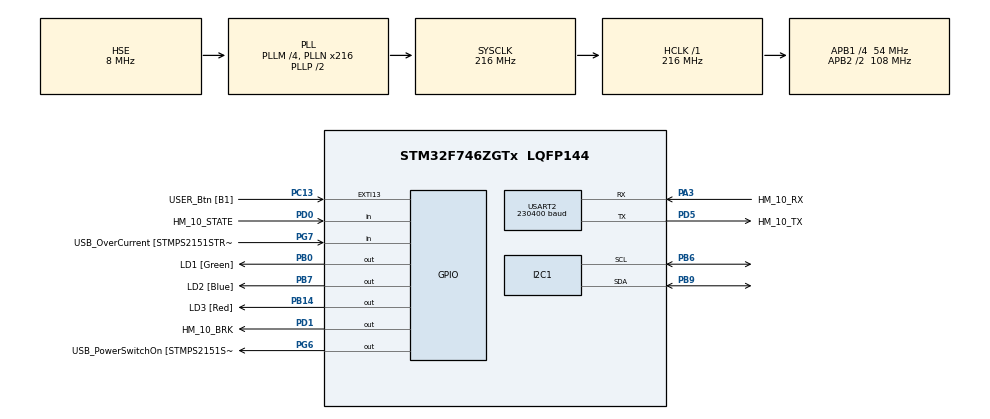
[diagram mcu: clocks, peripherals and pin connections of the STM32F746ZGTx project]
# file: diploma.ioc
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FREERTOS.Tasks01=defaultTask,24,128,StartDefaultTask,Default,NULL,Dynamic,NULL,NULL
FREERTOS.configENABLE_FPU=1
FREERTOS.configUSE_NEWLIB_REENTRANT=1
I2C1.Timing=0x20404768
Mcu.Family=STM32F7
Mcu.Name=STM32F746ZGTx
Mcu.Package=LQFP144
NVIC.PriorityGroup=NVIC_PRIORITYGROUP_4
NVIC.TIM8_UP_TIM13_IRQn=true\:15\:0\:false\:false\:true\:false\:false\:true\:true
NVIC.TimeBase=TIM8_UP_TIM13_IRQn
NVIC.TimeBaseIP=TIM13
NVIC.USART2_IRQn=true\:5\:0\:false\:false\:true\:true\:true\:true\:true
PA1.GPIO_Label=RMII_REF_CLK [LAN8742A-CZ-TR_REFCLK0]
PA1.Signal=ETH_REF_CLK
PA10.GPIO_Label=USB_ID
PA10.Signal=USB_OTG_FS_ID
PA11.GPIO_Label=USB_DM
PA11.Signal=USB_OTG_FS_DM
PA12.GPIO_Label=USB_DP
PA12.Signal=USB_OTG_FS_DP
PA13.GPIO_Label=TMS
PA13.Signal=SYS_JTMS-SWDIO
PA14.GPIO_Label=TCK
PA14.Signal=SYS_JTCK-SWCLK
PA2.GPIO_Label=RMII_MDIO [LAN8742A-CZ-TR_MDIO]
PA2.Signal=ETH_MDIO
PA3.GPIO_Label=HM_10_RX
PA3.Mode=Asynchronous
PA3.Signal=USART2_RX
PA7.GPIO_Label=RMII_CRS_DV [LAN8742A-CZ-TR_CRS_DV]
PA7.Signal=ETH_CRS_DV
PA8.Signal=I2C3_SCL
PB0.GPIO_Label=LD1 [Green]
PB0.Signal=GPIO_Output
PB13.GPIO_Label=RMII_TXD1 [LAN8742A-CZ-TR_TXD1]
PB13.Signal=ETH_TXD1
PB14.GPIO_Label=LD3 [Red]
PB14.Signal=GPIO_Output
PB3.GPIO_Label=SW0
PB3.Signal=SYS_JTDO-SWO
PB6.Mode=I2C
PB6.Signal=I2C1_SCL
PB7.GPIO_Label=LD2 [Blue]
PB7.Signal=GPIO_Output
PB9.Mode=I2C
PB9.Signal=I2C1_SDA
PC1.GPIO_Label=RMII_MDC [LAN8742A-CZ-TR_MDC]
PC1.Signal=ETH_MDC
PC13.GPIO_Label=USER_Btn [B1]
PC13.Signal=GPXTI13
PC14/OSC32_IN.Mode=LSE-External-Oscillator
PC14/OSC32_IN.Signal=RCC_OSC32_IN
PC15/OSC32_OUT.Mode=LSE-External-Oscillator
PC15/OSC32_OUT.Signal=RCC_OSC32_OUT
PC4.GPIO_Label=RMII_RXD0 [LAN8742A-CZ-TR_RXD0]
PC4.Signal=ETH_RXD0
PC5.GPIO_Label=RMII_RXD1 [LAN8742A-CZ-TR_RXD1]
PC5.Signal=ETH_RXD1
PD0.GPIO_Label=HM_10_STATE
PD0.Signal=GPIO_Input
PD1.GPIO_Label=HM_10_BRK
PD1.Signal=GPIO_Output
PD5.GPIO_Label=HM_10_TX
PD5.Mode=Asynchronous
PD5.Signal=USART2_TX
PD8.GPIO_Label=STLK_RX [STM32F103CBT6_PA3]
PD8.GPIO_PuPd=GPIO_PULLUP
PD8.Signal=USART3_TX
PD9.GPIO_Label=STLK_TX [STM32F103CBT6_PA2]
PD9.GPIO_PuPd=GPIO_PULLUP
PD9.Signal=USART3_RX
PG11.GPIO_Label=RMII_TX_EN [LAN8742A-CZ-TR_TXEN]
PG11.Signal=ETH_TX_EN
PG13.GPIO_Label=RMII_TXD0 [LAN8742A-CZ-TR_TXD0]
PG13.Signal=ETH_TXD0
PG6.GPIO_Label=USB_PowerSwitchOn [STMPS2151STR_EN]
PG6.Signal=GPIO_Output
PG7.GPIO_Label=USB_OverCurrent [STMPS2151STR_FAULT]
PG7.Signal=GPIO_Input
PH0/OSC_IN.GPIO_Label=MCO [STM32F103CBT6_PA8]
PH0/OSC_IN.Mode=HSE-External-Oscillator
PH0/OSC_IN.Signal=RCC_OSC_IN
PH1/OSC_OUT.Mode=HSE-External-Oscillator
PH1/OSC_OUT.Signal=RCC_OSC_OUT
ProjectManager.HeapSize=0x200
ProjectManager.StackSize=0x400
ProjectManager.TargetToolchain=STM32CubeIDE
RCC.48MHZClocksFreq_Value=24000000
RCC.AHBFreq_Value=216000000
RCC.APB1CLKDivider=RCC_HCLK_DIV4
RCC.APB1Freq_Value=54000000
RCC.APB1TimFreq_Value=108000000
RCC.APB2CLKDivider=RCC_HCLK_DIV2
RCC.APB2Freq_Value=108000000
RCC.APB2TimFreq_Value=216000000
RCC.CortexFreq_Value=216000000
RCC.HCLKFreq_Value=216000000
RCC.HSE_VALUE=8000000
RCC.HSI_VALUE=16000000
RCC.PLLM=4
RCC.PLLMUL=RCC_PLL_MUL9
RCC.PLLN=216
RCC.PLLQ=3
RCC.PLLSourceVirtual=RCC_PLLSOURCE_HSE
RCC.PRESCALERUSB=RCC_USBCLKSOURCE_PLL_DIV1_5
RCC.SYSCLKFreq_VALUE=216000000
RCC.SYSCLKSource=RCC_SYSCLKSOURCE_PLLCLK
RCC.SYSCLKSourceVirtual=RCC_SYSCLKSOURCE_PLLCLK
RCC.USBFreq_Value=144000000
RCC.VCOOutputFreq_Value=432000000
USART2.BaudRate=230400
USART2.VirtualMode-Asynchronous=VM_ASYNC
VP_FREERTOS_VS_CMSIS_V2.Mode=CMSIS_V2
VP_SYS_VS_tim13.Mode=TIM13
board=NUCLEO-F746ZG

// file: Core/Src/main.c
/* USER CODE BEGIN Header */
/**
  ******************************************************************************
  * @file           : main.c
  * @brief          : Main program body
  ******************************************************************************
  * @attention
  *
  * Copyright (c) 2024 STMicroelectronics.
  * All rights reserved.
  *
  * This software is licensed under terms that can be found in the LICENSE file
  * in the root directory of this software component.
  * If no LICENSE file comes with this software, it is provided AS-IS.
  *
  ******************************************************************************
  */

#define MPU_SCL_Pin GPIO_PIN_6
#define MPU_SCL_GPIO_Port GPIOB
#define MPU_SDA_Pin GPIO_PIN_9
#define MPU_SDA_GPIO_Port GPIOB
#define MPU_HI2C hi2c1

/* USER CODE END Header */
#include "main.h"
#include "cmsis_os.h"

/* USER CODE BEGIN Includes */

#include "MPUXX50.h"
#include <stdint.h>
#include <stdio.h>
#include <stdlib.h>
#include "my_types.h"
/* USER CODE END Includes */

I2C_HandleTypeDef hi2c1;

UART_HandleTypeDef huart2;

/* Definitions for defaultTask */
osThreadId_t defaultTaskHandle;
const osThreadAttr_t defaultTask_attributes = {
  .name = "defaultTask",
  .stack_size = 128 * 4,
  .priority = (osPriority_t) osPriorityNormal,
};
/* USER CODE BEGIN PV */

uint8_t serialBuf[100];

const GPIO_pin_pair_t LED_PIN_PAIRS [] = {
	{LD1_GPIO_Port, LD1_Pin},
	{LD3_GPIO_Port, LD3_Pin}
};
const uint8_t LED_PIN_COUNT = sizeof LED_PIN_PAIRS / sizeof LED_PIN_PAIRS[GREEN];

__IO char g_tx_buffer[BLE_PACKET_LEN + 1];

/* USER CODE END PV */

void SystemClock_Config(void);
static void MX_GPIO_Init(void);
static void MX_USART2_UART_Init(void);
static void MX_I2C1_Init(void);
void StartDefaultTask(void *argument);

/* USER CODE BEGIN PFP */
int _write(int, char *, int );

/* USER CODE END PFP */

int main(void)
{

  /* MCU Configuration--------------------------------------------------------*/

  /* Reset of all peripherals, Initializes the Flash interface and the Systick. */
  HAL_Init();

  /* Configure the system clock */
  SystemClock_Config();

  /* Initialize all configured peripherals */
  MX_GPIO_Init();
  MX_USART2_UART_Init();
  MX_I2C1_Init();

  if (MPU_begin(&MPU_HI2C, AD0_LOW, AFSR_4G, GFSR_500DPS, 0.98, 0.004) == 1)
    {
	  sprintf((char *)serialBuf, "MPU LOADED");
	  HAL_UART_Transmit_IT(&huart2, serialBuf, strlen((char *)serialBuf));
	  HAL_Delay(100);
    }
  else
    {
      while (1)
      {
	    sprintf((char *)serialBuf, "MPU ERROR LOADING!");
	    HAL_UART_Transmit_IT(&huart2, serialBuf, strlen((char *)serialBuf));
	    HAL_Delay(100);
      }
    }

    // Calibrate the IMU
  sprintf((char *)serialBuf, "CALIBRATING GYRO...");
  HAL_UART_Transmit_IT(&huart2, serialBuf, strlen((char *)serialBuf));
  HAL_Delay(100);
  MPU_calibrateGyro(&MPU_HI2C, 1500);
  sprintf((char *)serialBuf, "CALIBRATION COMPLETED");
  HAL_UART_Transmit_IT(&huart2, serialBuf, strlen((char *)serialBuf));
  HAL_Delay(100);

  /* Init scheduler */
  osKernelInitialize();

  /* Create the thread(s) */
  /* creation of defaultTask */
  defaultTaskHandle = osThreadNew(StartDefaultTask, NULL, &defaultTask_attributes);

  /* Start scheduler */
  osKernelStart();

  /* We should never get here as control is now taken by the scheduler */
  /* Infinite loop */
  while (1)
  {

  }
}

void SystemClock_Config(void)
{
  RCC_OscInitTypeDef RCC_OscInitStruct = {0};
  RCC_ClkInitTypeDef RCC_ClkInitStruct = {0};

  /** Configure LSE Drive Capability
  */
  HAL_PWR_EnableBkUpAccess();

  /** Configure the main internal regulator output voltage
  */
  __HAL_RCC_PWR_CLK_ENABLE();
  __HAL_PWR_VOLTAGESCALING_CONFIG(PWR_REGULATOR_VOLTAGE_SCALE1);

  /** Initializes the RCC Oscillators according to the specified parameters
  * in the RCC_OscInitTypeDef structure.
  */
  RCC_OscInitStruct.OscillatorType = RCC_OSCILLATORTYPE_HSE;
  RCC_OscInitStruct.HSEState = RCC_HSE_ON;
  RCC_OscInitStruct.PLL.PLLState = RCC_PLL_ON;
  RCC_OscInitStruct.PLL.PLLSource = RCC_PLLSOURCE_HSE;
  RCC_OscInitStruct.PLL.PLLM = 4;
  RCC_OscInitStruct.PLL.PLLN = 216;
  RCC_OscInitStruct.PLL.PLLP = RCC_PLLP_DIV2;
  RCC_OscInitStruct.PLL.PLLQ = 3;
  if (HAL_RCC_OscConfig(&RCC_OscInitStruct) != HAL_OK)
  {
    Error_Handler();
  }

  /** Activate the Over-Drive mode
  */
  if (HAL_PWREx_EnableOverDrive() != HAL_OK)
  {
    Error_Handler();
  }

  /** Initializes the CPU, AHB and APB buses clocks
  */
  RCC_ClkInitStruct.ClockType = RCC_CLOCKTYPE_HCLK|RCC_CLOCKTYPE_SYSCLK
                              |RCC_CLOCKTYPE_PCLK1|RCC_CLOCKTYPE_PCLK2;
  RCC_ClkInitStruct.SYSCLKSource = RCC_SYSCLKSOURCE_PLLCLK;
  RCC_ClkInitStruct.AHBCLKDivider = RCC_SYSCLK_DIV1;
  RCC_ClkInitStruct.APB1CLKDivider = RCC_HCLK_DIV4;
  RCC_ClkInitStruct.APB2CLKDivider = RCC_HCLK_DIV2;

  if (HAL_RCC_ClockConfig(&RCC_ClkInitStruct, FLASH_LATENCY_7) != HAL_OK)
  {
    Error_Handler();
  }
}

static void MX_I2C1_Init(void)
{

  hi2c1.Instance = I2C1;
  hi2c1.Init.Timing = 0x20404768;
  hi2c1.Init.OwnAddress1 = 0;
  hi2c1.Init.AddressingMode = I2C_ADDRESSINGMODE_7BIT;
  hi2c1.Init.DualAddressMode = I2C_DUALADDRESS_DISABLE;
  hi2c1.Init.OwnAddress2 = 0;
  hi2c1.Init.OwnAddress2Masks = I2C_OA2_NOMASK;
  hi2c1.Init.GeneralCallMode = I2C_GENERALCALL_DISABLE;
  hi2c1.Init.NoStretchMode = I2C_NOSTRETCH_DISABLE;
  if (HAL_I2C_Init(&hi2c1) != HAL_OK)
  {
    Error_Handler();
  }

  /** Configure Analogue filter
  */
  if (HAL_I2CEx_ConfigAnalogFilter(&hi2c1, I2C_ANALOGFILTER_ENABLE) != HAL_OK)
  {
    Error_Handler();
  }

  /** Configure Digital filter
  */
  if (HAL_I2CEx_ConfigDigitalFilter(&hi2c1, 0) != HAL_OK)
  {
    Error_Handler();
  }

}

static void MX_USART2_UART_Init(void)
{

  huart2.Instance = USART2;
  huart2.Init.BaudRate = 230400;
  huart2.Init.WordLength = UART_WORDLENGTH_8B;
  huart2.Init.StopBits = UART_STOPBITS_1;
  huart2.Init.Parity = UART_PARITY_NONE;
  huart2.Init.Mode = UART_MODE_TX_RX;
  huart2.Init.HwFlowCtl = UART_HWCONTROL_NONE;
  huart2.Init.OverSampling = UART_OVERSAMPLING_16;
  huart2.Init.OneBitSampling = UART_ONE_BIT_SAMPLE_DISABLE;
  huart2.AdvancedInit.AdvFeatureInit = UART_ADVFEATURE_NO_INIT;
  if (HAL_UART_Init(&huart2) != HAL_OK)
  {
    Error_Handler();
  }

}

static void MX_GPIO_Init(void)
{
  GPIO_InitTypeDef GPIO_InitStruct = {0};

  /* GPIO Ports Clock Enable */
  __HAL_RCC_GPIOC_CLK_ENABLE();
  __HAL_RCC_GPIOH_CLK_ENABLE();
  __HAL_RCC_GPIOA_CLK_ENABLE();
  __HAL_RCC_GPIOB_CLK_ENABLE();
  __HAL_RCC_GPIOD_CLK_ENABLE();
  __HAL_RCC_GPIOG_CLK_ENABLE();

  /*Configure GPIO pin Output Level */
  HAL_GPIO_WritePin(GPIOB, LD1_Pin|LD3_Pin|LD2_Pin, GPIO_PIN_RESET);

  /*Configure GPIO pin Output Level */
  HAL_GPIO_WritePin(USB_PowerSwitchOn_GPIO_Port, USB_PowerSwitchOn_Pin, GPIO_PIN_RESET);

  /*Configure GPIO pin Output Level */
  HAL_GPIO_WritePin(HM_10_BRK_GPIO_Port, HM_10_BRK_Pin, GPIO_PIN_RESET);

  /*Configure GPIO pin : USER_Btn_Pin */
  GPIO_InitStruct.Pin = USER_Btn_Pin;
  GPIO_InitStruct.Mode = GPIO_MODE_IT_RISING;
  GPIO_InitStruct.Pull = GPIO_NOPULL;
  HAL_GPIO_Init(USER_Btn_GPIO_Port, &GPIO_InitStruct);

  /*Configure GPIO pins : RMII_MDC_Pin RMII_RXD0_Pin RMII_RXD1_Pin */
  GPIO_InitStruct.Pin = RMII_MDC_Pin|RMII_RXD0_Pin|RMII_RXD1_Pin;
  GPIO_InitStruct.Mode = GPIO_MODE_AF_PP;
  GPIO_InitStruct.Pull = GPIO_NOPULL;
  GPIO_InitStruct.Speed = GPIO_SPEED_FREQ_VERY_HIGH;
  GPIO_InitStruct.Alternate = GPIO_AF11_ETH;
  HAL_GPIO_Init(GPIOC, &GPIO_InitStruct);

  /*Configure GPIO pins : RMII_REF_CLK_Pin RMII_MDIO_Pin RMII_CRS_DV_Pin */
  GPIO_InitStruct.Pin = RMII_REF_CLK_Pin|RMII_MDIO_Pin|RMII_CRS_DV_Pin;
  GPIO_InitStruct.Mode = GPIO_MODE_AF_PP;
  GPIO_InitStruct.Pull = GPIO_NOPULL;
  GPIO_InitStruct.Speed = GPIO_SPEED_FREQ_VERY_HIGH;
  GPIO_InitStruct.Alternate = GPIO_AF11_ETH;
  HAL_GPIO_Init(GPIOA, &GPIO_InitStruct);

  /*Configure GPIO pins : LD1_Pin LD3_Pin LD2_Pin */
  GPIO_InitStruct.Pin = LD1_Pin|LD3_Pin|LD2_Pin;
  GPIO_InitStruct.Mode = GPIO_MODE_OUTPUT_PP;
  GPIO_InitStruct.Pull = GPIO_NOPULL;
  GPIO_InitStruct.Speed = GPIO_SPEED_FREQ_LOW;
  HAL_GPIO_Init(GPIOB, &GPIO_InitStruct);

  /*Configure GPIO pin : RMII_TXD1_Pin */
  GPIO_InitStruct.Pin = RMII_TXD1_Pin;
  GPIO_InitStruct.Mode = GPIO_MODE_AF_PP;
  GPIO_InitStruct.Pull = GPIO_NOPULL;
  GPIO_InitStruct.Speed = GPIO_SPEED_FREQ_VERY_HIGH;
  GPIO_InitStruct.Alternate = GPIO_AF11_ETH;
  HAL_GPIO_Init(RMII_TXD1_GPIO_Port, &GPIO_InitStruct);

  /*Configure GPIO pins : STLK_RX_Pin STLK_TX_Pin */
  GPIO_InitStruct.Pin = STLK_RX_Pin|STLK_TX_Pin;
  GPIO_InitStruct.Mode = GPIO_MODE_AF_PP;
  GPIO_InitStruct.Pull = GPIO_PULLUP;
  GPIO_InitStruct.Speed = GPIO_SPEED_FREQ_VERY_HIGH;
  GPIO_InitStruct.Alternate = GPIO_AF7_USART3;
  HAL_GPIO_Init(GPIOD, &GPIO_InitStruct);

  /*Configure GPIO pin : USB_PowerSwitchOn_Pin */
  GPIO_InitStruct.Pin = USB_PowerSwitchOn_Pin;
  GPIO_InitStruct.Mode = GPIO_MODE_OUTPUT_PP;
  GPIO_InitStruct.Pull = GPIO_NOPULL;
  GPIO_InitStruct.Speed = GPIO_SPEED_FREQ_LOW;
  HAL_GPIO_Init(USB_PowerSwitchOn_GPIO_Port, &GPIO_InitStruct);

  /*Configure GPIO pin : USB_OverCurrent_Pin */
  GPIO_InitStruct.Pin = USB_OverCurrent_Pin;
  GPIO_InitStruct.Mode = GPIO_MODE_INPUT;
  GPIO_InitStruct.Pull = GPIO_NOPULL;
  HAL_GPIO_Init(USB_OverCurrent_GPIO_Port, &GPIO_InitStruct);

  /*Configure GPIO pin : PA8 */
  GPIO_InitStruct.Pin = GPIO_PIN_8;
  GPIO_InitStruct.Mode = GPIO_MODE_AF_OD;
  GPIO_InitStruct.Pull = GPIO_NOPULL;
  GPIO_InitStruct.Speed = GPIO_SPEED_FREQ_VERY_HIGH;
  GPIO_InitStruct.Alternate = GPIO_AF4_I2C3;
  HAL_GPIO_Init(GPIOA, &GPIO_InitStruct);

  /*Configure GPIO pins : USB_ID_Pin USB_DM_Pin USB_DP_Pin */
  GPIO_InitStruct.Pin = USB_ID_Pin|USB_DM_Pin|USB_DP_Pin;
  GPIO_InitStruct.Mode = GPIO_MODE_AF_PP;
  GPIO_InitStruct.Pull = GPIO_NOPULL;
  GPIO_InitStruct.Speed = GPIO_SPEED_FREQ_VERY_HIGH;
  GPIO_InitStruct.Alternate = GPIO_AF10_OTG_FS;
  HAL_GPIO_Init(GPIOA, &GPIO_InitStruct);

  /*Configure GPIO pin : HM_10_STATE_Pin */
  GPIO_InitStruct.Pin = HM_10_STATE_Pin;
  GPIO_InitStruct.Mode = GPIO_MODE_INPUT;
  GPIO_InitStruct.Pull = GPIO_NOPULL;
  HAL_GPIO_Init(HM_10_STATE_GPIO_Port, &GPIO_InitStruct);

  /*Configure GPIO pin : HM_10_BRK_Pin */
  GPIO_InitStruct.Pin = HM_10_BRK_Pin;
  GPIO_InitStruct.Mode = GPIO_MODE_OUTPUT_PP;
  GPIO_InitStruct.Pull = GPIO_NOPULL;
  GPIO_InitStruct.Speed = GPIO_SPEED_FREQ_LOW;
  HAL_GPIO_Init(HM_10_BRK_GPIO_Port, &GPIO_InitStruct);

  /*Configure GPIO pins : RMII_TX_EN_Pin RMII_TXD0_Pin */
  GPIO_InitStruct.Pin = RMII_TX_EN_Pin|RMII_TXD0_Pin;
  GPIO_InitStruct.Mode = GPIO_MODE_AF_PP;
  GPIO_InitStruct.Pull = GPIO_NOPULL;
  GPIO_InitStruct.Speed = GPIO_SPEED_FREQ_VERY_HIGH;
  GPIO_InitStruct.Alternate = GPIO_AF11_ETH;
  HAL_GPIO_Init(GPIOG, &GPIO_InitStruct);

}

/* USER CODE BEGIN 4 */

int _write(int file, char *ptr, int len)
{
	HAL_UART_Transmit_IT(
		&huart2,
		(const uint8_t *) ptr,
		len
	);
	return len;
}

/* USER CODE END 4 */

void StartDefaultTask(void *argument)
{
  /* USER CODE BEGIN 5 */
  /* Infinite loop */
  for(;;)
  {
//    HAL_GPIO_WritePin(
//    		LED_PIN_PAIRS[RED].gpio_type,
//    		LED_PIN_PAIRS[RED].gpio_pin,
//    		GPIO_PIN_SET
//    	);
//    osDelay(100);
//	HAL_GPIO_WritePin(
//		LED_PIN_PAIRS[RED].gpio_type,
//		LED_PIN_PAIRS[RED].gpio_pin,
//		GPIO_PIN_RESET
//	);
//	osDelay(100);

	MPU_readProcessedData(&MPU_HI2C);
	HAL_UART_Transmit_IT(&huart2, "~RAWDATASTART~", 14);
	osDelay(15);
	HAL_UART_Transmit_IT(
		&huart2,
		serialBuf,
		sprintf(
			(char *)serialBuf,
			"A:%f|%f|%f:",
			sensorData.ax,
			sensorData.ay,
			sensorData.az
		)
	);
	osDelay(15);
	HAL_UART_Transmit_IT(
		&huart2,
		serialBuf,
		sprintf(
			(char *)serialBuf,
			"G:%f|%f|%f:",
			sensorData.gx,
			sensorData.gy,
			sensorData.gz
		)
	);
	osDelay(15);
	HAL_UART_Transmit_IT(&huart2, "~RAWDATAEND~", 12);
	osDelay(15);
  }
  /* USER CODE END 5 */
}

void HAL_TIM_PeriodElapsedCallback(TIM_HandleTypeDef *htim)
{
  if (htim->Instance == TIM13) {
    HAL_IncTick();
  }
}

void Error_Handler(void)
{
  __disable_irq();
  while (1)
  {
  }
}
